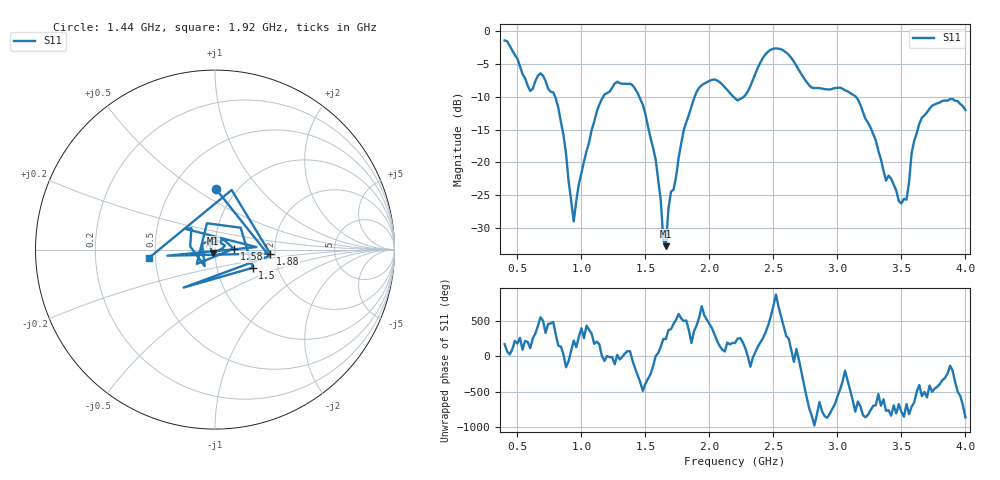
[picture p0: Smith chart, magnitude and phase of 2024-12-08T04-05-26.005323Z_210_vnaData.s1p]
!Created with skrf (http://scikit-rf.org).
# Hz S RI R 50.0
!freq ReS11 ImS11
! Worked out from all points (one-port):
!   181 points, 400 MHz to 4 GHz, reference 50 ohm
!   lowest |S11| = -32.8 dB at 1.66 GHz (marker M1), VSWR 1.05, Z = 48.9 - j1.98 ohm
!   |S11| at or under -10 dB: 794.8 MHz to 1.17 GHz (374.9 MHz wide, 38.2 % of centre); 1.453 GHz to 1.885 GHz (432.1 MHz wide, 25.9 % of centre); 3.144 GHz to end of sweep (the widest 3 of 4)
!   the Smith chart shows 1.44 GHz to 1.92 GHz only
!   S11 on the Smith chart (normalised r, x): 1.44 GHz: 0.80, +0.61; 1.5 GHz: 1.49, -0.32; 1.58 GHz: 1.23, +0.01; 1.88 GHz: 1.88, -0.09; 1.92 GHz: 0.46, -0.05
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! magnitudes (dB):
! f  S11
! 400 MHz  -1.4
! 600 MHz  -9.1
! 700 MHz  -6.8
! 800 MHz  -10.2
! 860 MHz  -15.9
! 940 MHz  -29.0
! 1.12 GHz  -12.3
! 1.3 GHz  -7.9
! 1.44 GHz  -9.5
! 1.5 GHz  -12.6
! 1.58 GHz  -19.6
! 1.64 GHz  -31.9
! 1.66 GHz  -32.8
! 1.68 GHz  -27.1
! 1.76 GHz  -19.3
! 1.88 GHz  -10.2
! 1.92 GHz  -8.6
! 2.2 GHz  -10.2
! 2.48 GHz  -2.8
! 2.66 GHz  -4.6
! 2.8 GHz  -8.6
! 3.1 GHz  -9.4
! 3.48 GHz  -25.9
! 3.56 GHz  -23.0
! 3.58 GHz  -18.6
! 3.66 GHz  -13.2
! 3.88 GHz  -10.3
! 4 GHz  -12.0
